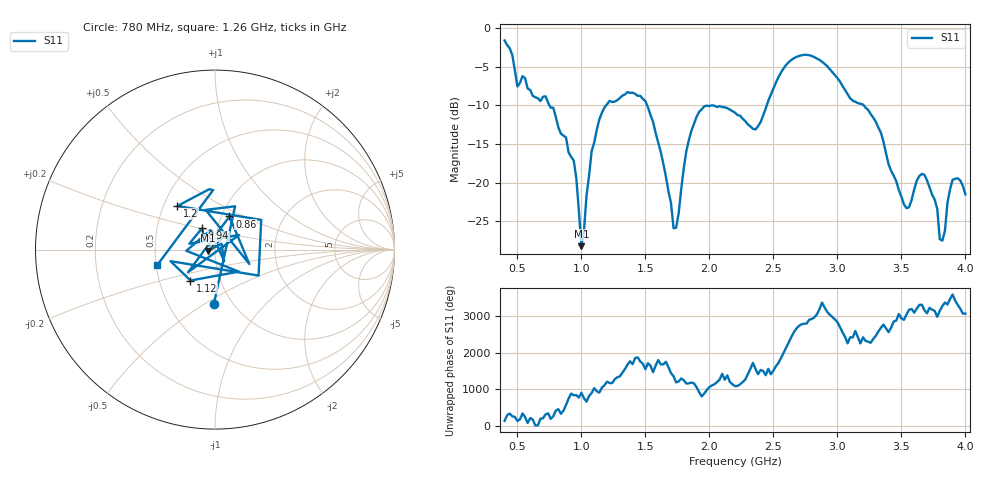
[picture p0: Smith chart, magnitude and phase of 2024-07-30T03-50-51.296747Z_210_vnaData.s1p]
!Created with skrf (http://scikit-rf.org).
# Hz S RI R 50.0
!freq ReS11 ImS11
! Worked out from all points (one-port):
!   181 points, 400 MHz to 4 GHz, reference 50 ohm
!   lowest |S11| = -28.2 dB at 1 GHz (marker M1), VSWR 1.08, Z = 46.3 - j0.593 ohm
!   |S11| at or under -10 dB: 750.2 MHz to 1.194 GHz (443.7 MHz wide, 45.6 % of centre); 1.513 GHz to 2.019 GHz (506.2 MHz wide, 28.7 % of centre); 3.205 GHz to end of sweep (the widest 3 of 4)
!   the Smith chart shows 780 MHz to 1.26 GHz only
!   S11 on the Smith chart (normalised r, x): 780 MHz: 0.82, -0.55; 860 MHz: 1.09, +0.42; 940 MHz: 0.84, +0.20; 1.12 GHz: 0.72, -0.26; 1.2 GHz: 0.59, +0.32; 1.26 GHz: 0.51, -0.10
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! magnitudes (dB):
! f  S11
! 400 MHz  -1.6
! 500 MHz  -7.6
! 780 MHz  -10.3
! 860 MHz  -13.9
! 940 MHz  -17.1
! 1 GHz  -28.2
! 1.08 GHz  -15.9
! 1.12 GHz  -13.2
! 1.2 GHz  -9.9
! 1.26 GHz  -9.5
! 1.3 GHz  -9.1
! 1.5 GHz  -9.5
! 1.62 GHz  -16.0
! 1.72 GHz  -25.9
! 1.76 GHz  -23.9
! 1.82 GHz  -15.9
! 1.92 GHz  -10.8
! 2.2 GHz  -10.9
! 2.36 GHz  -13.1
! 2.66 GHz  -3.9
! 2.88 GHz  -4.4
! 3.1 GHz  -9.1
! 3.3 GHz  -12.1
! 3.56 GHz  -23.2
! 3.68 GHz  -19.0
! 3.82 GHz  -27.5
! 3.9 GHz  -19.6
! 4 GHz  -21.5
